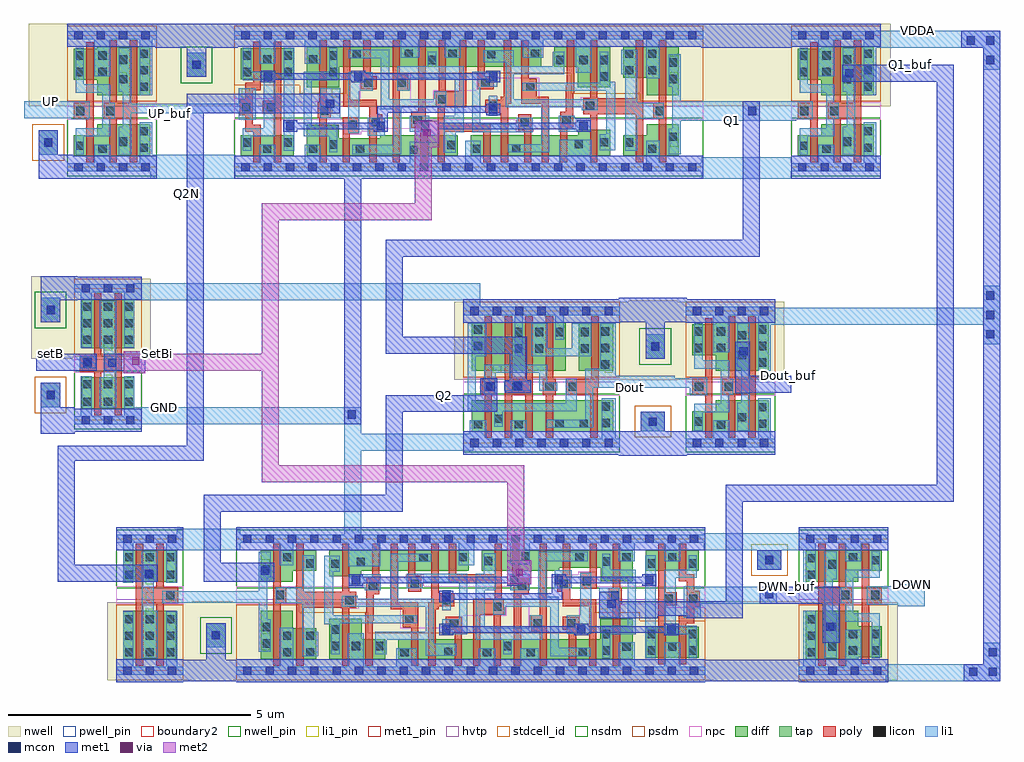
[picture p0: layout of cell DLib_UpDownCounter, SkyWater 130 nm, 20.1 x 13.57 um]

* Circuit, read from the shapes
.subckt DLib_UpDownCounter DOWN DWN_buf Dout Dout_buf GND Q1 Q1_buf Q2 Q2N SetBi UP UP_buf VDDA setB
XM1 GND UP n1 GND sky130_fd_pr__nfet_01v8 w=0.42 l=0.15
XM2 SetBi setB GND GND sky130_fd_pr__nfet_01v8 w=0.65 l=0.15 m=2
XM3 UP_buf n1 GND GND sky130_fd_pr__nfet_01v8 w=0.65 l=0.15 m=2
XM4 Q2N Q2 GND GND sky130_fd_pr__nfet_01v8 w=0.65 l=0.15 m=2
XM5 GND UP_buf n2 GND sky130_fd_pr__nfet_01v8 w=0.42 l=0.15
XM6 GND n3 Q2 GND sky130_fd_pr__nfet_01v8 w=0.65 l=0.15
XM7 n4 n2 GND GND sky130_fd_pr__nfet_01v8 w=0.42 l=0.15
XM8 n3 n5 GND GND sky130_fd_pr__nfet_01v8 w=0.42 l=0.15
XM9 n6 Q2N GND GND sky130_fd_pr__nfet_01v8 w=0.64 l=0.15
XM10 GND n5 n7 GND sky130_fd_pr__nfet_01v8 w=0.54 l=0.15
XM11 n8 n2 n6 GND sky130_fd_pr__nfet_01v8 w=0.36 l=0.15
XM12 n9 n4 n8 GND sky130_fd_pr__nfet_01v8 w=0.36 l=0.15
XM13 n10 SetBi GND GND sky130_fd_pr__nfet_01v8 w=0.42 l=0.15
XM14 n11 n7 n10 GND sky130_fd_pr__nfet_01v8 w=0.42 l=0.15
XM15 GND n12 n9 GND sky130_fd_pr__nfet_01v8 w=0.42 l=0.15
XM16 n5 n13 n11 GND sky130_fd_pr__nfet_01v8 w=0.42 l=0.15
XM17 n14 SetBi GND GND sky130_fd_pr__nfet_01v8 w=0.42 l=0.15
XM18 n15 n16 n5 GND sky130_fd_pr__nfet_01v8 w=0.42 l=0.15
XM19 n12 n8 n14 GND sky130_fd_pr__nfet_01v8 w=0.42 l=0.15
XM20 GND n17 n15 GND sky130_fd_pr__nfet_01v8 w=0.42 l=0.15
XM21 n18 n8 GND GND sky130_fd_pr__nfet_01v8 w=0.42 l=0.15
XM22 n19 Q2 GND GND sky130_fd_pr__nfet_01v8 w=0.65 l=0.15
XM23 n20 n17 n21 GND sky130_fd_pr__nfet_01v8 w=0.42 l=0.15
XM24 n22 n4 n18 GND sky130_fd_pr__nfet_01v8 w=0.42 l=0.15
XM25 GND Q1 n19 GND sky130_fd_pr__nfet_01v8 w=0.65 l=0.15
XM26 GND SetBi n20 GND sky130_fd_pr__nfet_01v8 w=0.42 l=0.15
XM27 n23 n2 n22 GND sky130_fd_pr__nfet_01v8 w=0.42 l=0.15
XM28 n24 Q1 GND GND sky130_fd_pr__nfet_01v8 w=0.65 l=0.15
XM29 n25 n21 GND GND sky130_fd_pr__nfet_01v8 w=0.42 l=0.15
XM30 n26 n27 n23 GND sky130_fd_pr__nfet_01v8 w=0.42 l=0.15
XM31 Dout Q2 n24 GND sky130_fd_pr__nfet_01v8 w=0.65 l=0.15
XM32 GND SetBi n26 GND sky130_fd_pr__nfet_01v8 w=0.42 l=0.15
XM33 n17 n16 n25 GND sky130_fd_pr__nfet_01v8 w=0.36 l=0.15
XM34 n28 n13 n17 GND sky130_fd_pr__nfet_01v8 w=0.36 l=0.15
XM35 n27 n22 GND GND sky130_fd_pr__nfet_01v8 w=0.54 l=0.15
XM36 GND n19 Dout GND sky130_fd_pr__nfet_01v8 w=0.65 l=0.15
XM37 GND Q1_buf n28 GND sky130_fd_pr__nfet_01v8 w=0.64 l=0.15
XM38 GND n22 n29 GND sky130_fd_pr__nfet_01v8 w=0.42 l=0.15
XM39 GND n13 n16 GND sky130_fd_pr__nfet_01v8 w=0.42 l=0.15
XM40 Q1 n29 GND GND sky130_fd_pr__nfet_01v8 w=0.65 l=0.15
XM41 n13 DWN_buf GND GND sky130_fd_pr__nfet_01v8 w=0.42 l=0.15
XM42 GND Dout n30 GND sky130_fd_pr__nfet_01v8 w=0.42 l=0.15
XM43 Dout_buf n30 GND GND sky130_fd_pr__nfet_01v8 w=0.65 l=0.15 m=2
XM44 GND Q1 n31 GND sky130_fd_pr__nfet_01v8 w=0.42 l=0.15
XM45 DWN_buf n32 GND GND sky130_fd_pr__nfet_01v8 w=0.65 l=0.15 m=2
XM46 Q1_buf n31 GND GND sky130_fd_pr__nfet_01v8 w=0.65 l=0.15 m=2
XM47 n32 DOWN GND GND sky130_fd_pr__nfet_01v8 w=0.42 l=0.15
XM48 VDDA UP n1 VDDA sky130_fd_pr__pfet_01v8_hvt w=0.64 l=0.15
XM49 SetBi setB VDDA VDDA sky130_fd_pr__pfet_01v8_hvt w=1 l=0.15 m=2
XM50 UP_buf n1 VDDA VDDA sky130_fd_pr__pfet_01v8_hvt w=1 l=0.15 m=2
XM51 Q2N Q2 VDDA VDDA sky130_fd_pr__pfet_01v8_hvt w=1 l=0.15 m=2
XM52 VDDA UP_buf n2 VDDA sky130_fd_pr__pfet_01v8_hvt w=0.64 l=0.15
XM53 VDDA n3 Q2 VDDA sky130_fd_pr__pfet_01v8_hvt w=1 l=0.15
XM54 n4 n2 VDDA VDDA sky130_fd_pr__pfet_01v8_hvt w=0.64 l=0.15
XM55 n3 n5 VDDA VDDA sky130_fd_pr__pfet_01v8_hvt w=0.64 l=0.15
XM56 n6 Q2N VDDA VDDA sky130_fd_pr__pfet_01v8_hvt w=0.84 l=0.15
XM57 VDDA n5 n7 VDDA sky130_fd_pr__pfet_01v8_hvt w=0.84 l=0.15
XM58 n8 n4 n6 VDDA sky130_fd_pr__pfet_01v8_hvt w=0.42 l=0.15
XM59 n33 n2 n8 VDDA sky130_fd_pr__pfet_01v8_hvt w=0.42 l=0.15
XM60 n5 SetBi VDDA VDDA sky130_fd_pr__pfet_01v8_hvt w=0.42 l=0.15
XM61 VDDA n12 n33 VDDA sky130_fd_pr__pfet_01v8_hvt w=0.42 l=0.15
XM62 n34 n7 VDDA VDDA sky130_fd_pr__pfet_01v8_hvt w=0.42 l=0.15
XM63 n12 SetBi VDDA VDDA sky130_fd_pr__pfet_01v8_hvt w=0.42 l=0.15
XM64 n5 n16 n34 VDDA sky130_fd_pr__pfet_01v8_hvt w=0.42 l=0.15
XM65 VDDA n8 n12 VDDA sky130_fd_pr__pfet_01v8_hvt w=0.42 l=0.15
XM66 n35 n13 n5 VDDA sky130_fd_pr__pfet_01v8_hvt w=0.42 l=0.15
XM67 n36 n8 VDDA VDDA sky130_fd_pr__pfet_01v8_hvt w=0.42 l=0.15
XM68 VDDA n17 n35 VDDA sky130_fd_pr__pfet_01v8_hvt w=0.42 l=0.15
XM69 n22 n2 n36 VDDA sky130_fd_pr__pfet_01v8_hvt w=0.42 l=0.15
XM70 n37 Q2 n19 VDDA sky130_fd_pr__pfet_01v8_hvt w=1 l=0.15
XM71 n21 n17 VDDA VDDA sky130_fd_pr__pfet_01v8_hvt w=0.42 l=0.15
XM72 n38 n4 n22 VDDA sky130_fd_pr__pfet_01v8_hvt w=0.42 l=0.15
XM73 VDDA Q1 n37 VDDA sky130_fd_pr__pfet_01v8_hvt w=1 l=0.15
XM74 VDDA SetBi n21 VDDA sky130_fd_pr__pfet_01v8_hvt w=0.42 l=0.15
XM75 VDDA n27 n38 VDDA sky130_fd_pr__pfet_01v8_hvt w=0.42 l=0.15
XM76 n39 Q1 VDDA VDDA sky130_fd_pr__pfet_01v8_hvt w=1 l=0.15
XM77 n40 n21 VDDA VDDA sky130_fd_pr__pfet_01v8_hvt w=0.42 l=0.15
XM78 VDDA Q2 n39 VDDA sky130_fd_pr__pfet_01v8_hvt w=1 l=0.15
XM79 VDDA SetBi n22 VDDA sky130_fd_pr__pfet_01v8_hvt w=0.42 l=0.15
XM80 n17 n13 n40 VDDA sky130_fd_pr__pfet_01v8_hvt w=0.42 l=0.15
XM81 n28 n16 n17 VDDA sky130_fd_pr__pfet_01v8_hvt w=0.42 l=0.15
XM82 n27 n22 VDDA VDDA sky130_fd_pr__pfet_01v8_hvt w=0.84 l=0.15
XM83 Dout n19 n39 VDDA sky130_fd_pr__pfet_01v8_hvt w=1 l=0.15
XM84 VDDA Q1_buf n28 VDDA sky130_fd_pr__pfet_01v8_hvt w=0.84 l=0.15
XM85 VDDA n22 n29 VDDA sky130_fd_pr__pfet_01v8_hvt w=0.64 l=0.15
XM86 VDDA n13 n16 VDDA sky130_fd_pr__pfet_01v8_hvt w=0.64 l=0.15
XM87 Q1 n29 VDDA VDDA sky130_fd_pr__pfet_01v8_hvt w=1 l=0.15
XM88 n13 DWN_buf VDDA VDDA sky130_fd_pr__pfet_01v8_hvt w=0.64 l=0.15
XM89 VDDA Dout n30 VDDA sky130_fd_pr__pfet_01v8_hvt w=0.64 l=0.15
XM90 Dout_buf n30 VDDA VDDA sky130_fd_pr__pfet_01v8_hvt w=1 l=0.15 m=2
XM91 VDDA Q1 n31 VDDA sky130_fd_pr__pfet_01v8_hvt w=0.64 l=0.15
XM92 DWN_buf n32 VDDA VDDA sky130_fd_pr__pfet_01v8_hvt w=1 l=0.15 m=2
XM93 Q1_buf n31 VDDA VDDA sky130_fd_pr__pfet_01v8_hvt w=1 l=0.15 m=2
XM94 n32 DOWN VDDA VDDA sky130_fd_pr__pfet_01v8_hvt w=0.64 l=0.15
.ends

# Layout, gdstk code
from math import pi, radians
import gdstk
lib = gdstk.Library(unit=1e-6, precision=1e-09)
def R(c, l, rs):  # rectangles x0, y0, x1, y1
    for r in rs: c.add(gdstk.rectangle(r[:2], r[2:], *l))
def A(c, l, x, y, w, h, nx, ny, dx, dy):  # array of equal rectangles
    R(c, l, [(x+i*dx, y+j*dy, x+i*dx+w, y+j*dy+h) for i in range(nx) for j in range(ny)])
def P(c, l, *ps):  # polygons
    for p in ps: c.add(gdstk.Polygon(p, *l))
nwell_pin = (64, 16)
nwell = (64, 20)
diff = (65, 20)
tap = (65, 44)
poly = (66, 20)
licon = (66, 44)
li1_pin = (67, 16)
li1 = (67, 20)
mcon = (67, 44)
met1_pin = (68, 16)
met1 = (68, 20)
via = (68, 44)
met2 = (69, 20)
hvtp = (78, 44)
stdcell_id = (81, 4)
nsdm = (93, 44)
psdm = (94, 20)
npc = (95, 20)
pwell_pin = (122, 16)
boundary2 = (236, 0)

sky130_fd_sc_hd__xor2_1 = lib.new_cell('sky130_fd_sc_hd__xor2_1')
R(sky130_fd_sc_hd__xor2_1, nwell_pin, [(0.145,2.635,0.315,2.805)])
R(sky130_fd_sc_hd__xor2_1, nwell, [(-0.19,1.305,3.41,2.91)])
R(sky130_fd_sc_hd__xor2_1, diff, [(0.175,0.235,3.085,0.885), (0.175,1.485,2.105,2.485), (2.375,1.485,3.085,2.485)])
P(sky130_fd_sc_hd__xor2_1, poly, [(0.645,1.325),(0.585,1.325),(0.585,2.615),(0.435,2.615),(0.435,1.325),(0.375,1.325),(0.375,0.995),(0.435,0.995),(0.435,0.105),(0.585,0.105),(0.585,0.995),(0.645,0.995)],
  [(1.425,2.615),(1.275,2.615),(1.275,1.325),(1.005,1.325),(1.005,2.615),(0.855,2.615),(0.855,0.105),(1.005,0.105),(1.005,0.995),(1.275,0.995),(1.275,0.105),(1.425,0.105)],
  [(1.905,1.325),(1.845,1.325),(1.845,2.615),(1.695,2.615),(1.695,1.325),(1.635,1.325),(1.635,0.995),(1.695,0.995),(1.695,0.105),(1.845,0.105),(1.845,0.995),(1.905,0.995)],
  [(2.765,1.16),(2.785,1.16),(2.785,2.615),(2.635,2.615),(2.635,1.325),(2.115,1.325),(2.115,0.995),(2.615,0.995),(2.615,0.105),(2.765,0.105)])
A(sky130_fd_sc_hd__xor2_1, licon, 2.835, 1.535, 0.17, 0.17, 1, 3, 0, 0.34)
A(sky130_fd_sc_hd__xor2_1, licon, 1.055, 2.205, 0.17, 0.17, 3, 1, 0.42, 0)
R(sky130_fd_sc_hd__xor2_1, licon, [(0.215,0.305,0.385,0.475), (1.055,0.305,1.225,0.475), (1.895,0.315,2.065,0.485), (2.395,0.315,2.565,0.485), (2.845,0.33,3.015,0.5), (0.635,0.415,0.805,0.585), (2.845,0.67,3.015,0.84), (0.425,1.075,0.595,1.245), (1.01,1.075,1.18,1.245), (1.685,1.075,1.855,1.245), (2.165,1.075,2.335,1.245), (1.055,1.865,1.225,2.035), (1.475,1.865,1.645,2.035), (2.415,1.865,2.585,2.035), (0.215,1.915,0.385,2.085), (2.415,2.205,2.585,2.375), (0.215,2.255,0.385,2.425)])
R(sky130_fd_sc_hd__xor2_1, li1_pin, [(1.065,1.105,1.235,1.275), (0.605,1.445,0.775,1.615), (2.905,1.445,3.075,1.615)])
R(sky130_fd_sc_hd__xor2_1, li1, [(0.84,1.075,1.39,1.275)])
P(sky130_fd_sc_hd__xor2_1, li1, [(1.935,1.245),(1.73,1.245),(1.73,1.615),(0.425,1.615),(0.425,0.995),(0.67,0.995),(0.67,1.445),(1.56,1.445),(1.56,1.075),(1.935,1.075)],
  [(2.335,1.325),(2.105,1.325),(2.105,0.825),(0.255,0.825),(0.255,1.785),(0.465,1.785),(0.465,2.465),(0.085,2.465),(0.085,0.655),(0.635,0.655),(0.635,0.335),(0.805,0.335),(0.805,0.655),(2.335,0.655)],
  [(2.635,2.465),(2.235,2.465),(2.235,1.955),(1.725,1.955),(1.725,2.465),(1.395,2.465),(1.395,1.785),(2.635,1.785)],
  [(3.135,2.465),(2.815,2.465),(2.815,1.535),(2.505,1.535),(2.505,0.485),(1.72,0.485),(1.72,0.315),(2.675,0.315),(2.675,1.365),(3.135,1.365)],
  [(3.22,2.805),(0,2.805),(0,2.635),(1.055,2.635),(1.055,1.785),(1.225,1.785),(1.225,2.635),(1.895,2.635),(1.895,2.125),(2.065,2.125),(2.065,2.635),(3.22,2.635)],
  [(3.22,0.085),(3.135,0.085),(3.135,0.92),(2.845,0.92),(2.845,0.085),(1.305,0.085),(1.305,0.475),(0.975,0.475),(0.975,0.085),(0.465,0.085),(0.465,0.475),(0.135,0.475),(0.135,0.085),(0,0.085),(0,-0.085),(3.22,-0.085)])
A(sky130_fd_sc_hd__xor2_1, mcon, 0.145, -0.085, 0.17, 0.17, 7, 2, 0.46, 2.72)
R(sky130_fd_sc_hd__xor2_1, met1_pin, [(0.145,-0.085,0.315,0.085), (0.145,2.635,0.315,2.805)])
R(sky130_fd_sc_hd__xor2_1, hvtp, [(0,1.25,3.22,2.72)])
R(sky130_fd_sc_hd__xor2_1, stdcell_id, [(0,0,3.22,2.72)])
R(sky130_fd_sc_hd__xor2_1, nsdm, [(0,-0.19,3.22,1.015)])
R(sky130_fd_sc_hd__xor2_1, psdm, [(0,1.355,3.22,2.91)])
R(sky130_fd_sc_hd__xor2_1, npc, [(0,0.975,3.22,1.345)])
R(sky130_fd_sc_hd__xor2_1, pwell_pin, [(0.145,-0.085,0.315,0.085)])
R(sky130_fd_sc_hd__xor2_1, boundary2, [(0,0,3.22,2.72)])
sky130_fd_sc_hd__xor2_1.add(gdstk.FlexPath([(0,0),(3.22,0)], 0.48, ends="flush", simple_path=True, layer=68, datatype=20))  # met1
sky130_fd_sc_hd__xor2_1.add(gdstk.FlexPath([(0,2.72),(3.22,2.72)], 0.48, ends="flush", simple_path=True, layer=68, datatype=20))  # met1
sky130_fd_sc_hd__xor2_1.add(gdstk.Label('B', (0.69,1.53), layer=67, texttype=5))
sky130_fd_sc_hd__xor2_1.add(gdstk.Label('X', (2.99,1.53), layer=67, texttype=5))
sky130_fd_sc_hd__xor2_1.add(gdstk.Label('A', (1.15,1.19), layer=67, texttype=5))
sky130_fd_sc_hd__xor2_1.add(gdstk.Label('VNB', (0.23,0), layer=64, texttype=59))
sky130_fd_sc_hd__xor2_1.add(gdstk.Label('VPB', (0.23,2.72), layer=64, texttype=5))
sky130_fd_sc_hd__xor2_1.add(gdstk.Label('VPWR', (0.23,2.72), layer=68, texttype=5))
sky130_fd_sc_hd__xor2_1.add(gdstk.Label('VGND', (0.23,0), layer=68, texttype=5))
sky130_fd_sc_hd__xor2_1.add(gdstk.Label('xor2_1', (0,0), layer=83, texttype=44))

sky130_fd_sc_hd__inv_2 = lib.new_cell('sky130_fd_sc_hd__inv_2')
R(sky130_fd_sc_hd__inv_2, nwell_pin, [(0.145,2.635,0.315,2.805)])
R(sky130_fd_sc_hd__inv_2, nwell, [(-0.19,1.305,1.57,2.91)])
R(sky130_fd_sc_hd__inv_2, diff, [(0.145,0.235,1.235,0.885), (0.145,1.485,1.235,2.485)])
P(sky130_fd_sc_hd__inv_2, poly, [(0.975,2.615),(0.825,2.615),(0.825,1.325),(0.555,1.325),(0.555,2.615),(0.405,2.615),(0.405,1.325),(0.105,1.325),(0.105,0.995),(0.405,0.995),(0.405,0.105),(0.555,0.105),(0.555,0.995),(0.825,0.995),(0.825,0.105),(0.975,0.105)])
A(sky130_fd_sc_hd__inv_2, licon, 0.185, 0.295, 0.17, 0.17, 3, 2, 0.42, 0.36)
A(sky130_fd_sc_hd__inv_2, licon, 0.185, 1.575, 0.17, 0.17, 3, 3, 0.42, 0.34)
R(sky130_fd_sc_hd__inv_2, licon, [(0.185,1.075,0.355,1.245)])
A(sky130_fd_sc_hd__inv_2, li1_pin, 0.605, 0.765, 0.17, 0.17, 1, 3, 0, 0.34)
R(sky130_fd_sc_hd__inv_2, li1_pin, [(0.145,1.105,0.315,1.275)])
R(sky130_fd_sc_hd__inv_2, li1, [(0.105,1.075,0.435,1.325)])
P(sky130_fd_sc_hd__inv_2, li1, [(1.38,2.805),(0,2.805),(0,2.635),(0.125,2.635),(0.125,1.495),(0.355,1.495),(0.355,2.635),(1.025,2.635),(1.025,1.495),(1.235,1.495),(1.235,2.635),(1.38,2.635)],
  [(0.855,2.465),(0.525,2.465),(0.525,1.485),(0.605,1.485),(0.605,0.885),(0.525,0.885),(0.525,0.255),(0.855,0.255)],
  [(1.38,0.085),(1.235,0.085),(1.235,0.905),(1.025,0.905),(1.025,0.085),(0.355,0.085),(0.355,0.905),(0.125,0.905),(0.125,0.085),(0,0.085),(0,-0.085),(1.38,-0.085)])
A(sky130_fd_sc_hd__inv_2, mcon, 0.145, -0.085, 0.17, 0.17, 3, 2, 0.46, 2.72)
R(sky130_fd_sc_hd__inv_2, met1_pin, [(0.145,-0.085,0.315,0.085), (0.145,2.635,0.315,2.805)])
R(sky130_fd_sc_hd__inv_2, hvtp, [(0,1.25,1.38,2.72)])
R(sky130_fd_sc_hd__inv_2, stdcell_id, [(0,0,1.38,2.72)])
R(sky130_fd_sc_hd__inv_2, nsdm, [(0,-0.19,1.38,1.015)])
R(sky130_fd_sc_hd__inv_2, psdm, [(0,1.355,1.38,2.91)])
R(sky130_fd_sc_hd__inv_2, npc, [(0,0.975,1.38,1.345)])
R(sky130_fd_sc_hd__inv_2, pwell_pin, [(0.145,-0.085,0.315,0.085)])
R(sky130_fd_sc_hd__inv_2, boundary2, [(0,0,1.38,2.72)])
sky130_fd_sc_hd__inv_2.add(gdstk.FlexPath([(0,2.72),(1.38,2.72)], 0.48, ends="flush", simple_path=True, layer=68, datatype=20))  # met1
sky130_fd_sc_hd__inv_2.add(gdstk.FlexPath([(0,0),(1.38,0)], 0.48, ends="flush", simple_path=True, layer=68, datatype=20))  # met1
sky130_fd_sc_hd__inv_2.add(gdstk.Label('A', (0.23,1.19), layer=67, texttype=5))
sky130_fd_sc_hd__inv_2.add(gdstk.Label('Y', (0.69,0.85), layer=67, texttype=5))
sky130_fd_sc_hd__inv_2.add(gdstk.Label('Y', (0.69,1.53), layer=67, texttype=5))
sky130_fd_sc_hd__inv_2.add(gdstk.Label('Y', (0.69,1.19), layer=67, texttype=5))
sky130_fd_sc_hd__inv_2.add(gdstk.Label('VPB', (0.23,2.72), layer=64, texttype=5))
sky130_fd_sc_hd__inv_2.add(gdstk.Label('VNB', (0.23,0), layer=64, texttype=59))
sky130_fd_sc_hd__inv_2.add(gdstk.Label('VPWR', (0.23,2.72), layer=68, texttype=5))
sky130_fd_sc_hd__inv_2.add(gdstk.Label('VGND', (0.23,0), layer=68, texttype=5))
sky130_fd_sc_hd__inv_2.add(gdstk.Label('inv_2', (0,0), layer=83, texttype=44))

sky130_fd_sc_hd__dfstp_1 = lib.new_cell('sky130_fd_sc_hd__dfstp_1')
R(sky130_fd_sc_hd__dfstp_1, nwell_pin, [(0.145,2.635,0.315,2.805), (0.145,2.635,0.315,2.805)])
R(sky130_fd_sc_hd__dfstp_1, nwell, [(-0.19,1.305,9.85,2.91)])
R(sky130_fd_sc_hd__dfstp_1, diff, [(0.135,0.235,1.225,0.655), (0.135,1.815,1.225,2.455)])
P(sky130_fd_sc_hd__dfstp_1, diff, [(4.6,0.655),(3.005,0.655),(3.005,0.595),(2.155,0.595),(2.155,0.875),(1.495,0.875),(1.495,0.235),(4.6,0.235)],
  [(9.155,0.885),(8.495,0.885),(8.495,0.655),(8.01,0.655),(8.01,0.235),(9.155,0.235)],
  [(9.155,2.485),(8.01,2.485),(8.01,1.845),(8.495,1.845),(8.495,1.485),(9.155,1.485)],
  [(6.32,2.485),(1.495,2.485),(1.495,1.645),(2.165,1.645),(2.165,2.065),(6.32,2.065)],
  [(7.74,2.485),(6.59,2.485),(6.59,2.065),(7.075,2.065),(7.075,1.645),(7.74,1.645)],
  [(7.74,0.775),(7.08,0.775),(7.08,0.655),(4.87,0.655),(4.87,0.235),(7.74,0.235)])
P(sky130_fd_sc_hd__dfstp_1, poly, [(0.545,0.88),(0.38,0.88),(0.38,1.59),(0.545,1.59),(0.545,2.585),(0.395,2.585),(0.395,1.74),(0.23,1.74),(0.23,1.4),(0.11,1.4),(0.11,1.07),(0.23,1.07),(0.23,0.73),(0.395,0.73),(0.395,0.105),(0.545,0.105)],
  [(0.965,2.585),(0.815,2.585),(0.815,1.37),(0.59,1.37),(0.59,1.1),(0.815,1.1),(0.815,0.105),(0.965,0.105)],
  [(1.99,1.335),(1.905,1.335),(1.905,2.615),(1.755,2.615),(1.755,1.335),(1.72,1.335),(1.72,1.005),(1.755,1.005),(1.755,0.105),(1.905,0.105),(1.905,1.005),(1.99,1.005)],
  [(2.57,1.035),(2.23,1.035),(2.23,0.105),(2.38,0.105),(2.38,0.705),(2.57,0.705)],
  [(2.93,1.875),(2.81,1.875),(2.81,2.615),(2.66,2.615),(2.66,1.875),(2.6,1.875),(2.6,1.605),(2.93,1.605)],
  [(3.05,1.095),(2.93,1.095),(2.93,1.395),(2.39,1.395),(2.39,2.615),(2.24,2.615),(2.24,1.245),(2.78,1.245),(2.78,0.105),(2.93,0.105),(2.93,0.765),(3.05,0.765)],
  [(3.58,1.905),(3.41,1.905),(3.41,2.615),(3.26,2.615),(3.26,0.105),(3.41,0.105),(3.41,1.575),(3.58,1.575)],
  [(3.98,0.965),(3.94,0.965),(3.94,2.615),(3.79,2.615),(3.79,1.145),(3.64,1.145),(3.64,0.815),(3.83,0.815),(3.83,0.105),(3.98,0.105)],
  [(5.28,0.915),(4.34,0.915),(4.34,1.235),(4.78,1.235),(4.78,2.615),(4.63,2.615),(4.63,1.565),(4.36,1.565),(4.36,2.615),(4.21,2.615),(4.21,1.565),(4.15,1.565),(4.15,1.235),(4.19,1.235),(4.19,0.105),(4.34,0.105),(4.34,0.735),(5.13,0.735),(5.13,0.105),(5.28,0.105)],
  [(5.34,1.875),(5.16,1.875),(5.16,2.615),(5.01,2.615),(5.01,1.605),(5.34,1.605)],
  [(5.7,2.615),(5.55,2.615),(5.55,1.455),(5.49,1.455),(5.49,1.395),(5.17,1.395),(5.17,1.125),(5.49,1.125),(5.49,0.105),(5.64,0.105),(5.64,1.305),(5.7,1.305)],
  [(6.12,1.095),(5.85,1.095),(5.85,0.765),(5.97,0.765),(5.97,0.105),(6.12,0.105)],
  [(6.48,1.455),(6.23,1.455),(6.23,1.825),(6.06,1.825),(6.06,2.615),(5.91,2.615),(5.91,1.305),(6.33,1.305),(6.33,0.105),(6.48,0.105)],
  [(7,2.615),(6.85,2.615),(6.85,1.685),(6.83,1.685),(6.83,1.145),(6.71,1.145),(6.71,0.105),(6.86,0.105),(6.86,0.815),(6.98,0.815),(6.98,1.535),(7,1.535)],
  [(8.42,2.615),(8.27,2.615),(8.27,1.425),(7.48,1.425),(7.48,2.615),(7.33,2.615),(7.33,1.425),(7.19,1.425),(7.19,1.095),(7.33,1.095),(7.33,0.105),(7.48,0.105),(7.48,1.095),(8.27,1.095),(8.27,0.105),(8.42,0.105)],
  [(8.9,1.325),(8.895,1.325),(8.895,2.615),(8.745,2.615),(8.745,1.325),(8.63,1.325),(8.63,0.995),(8.745,0.995),(8.745,0.105),(8.895,0.105),(8.895,0.995),(8.9,0.995)])
R(sky130_fd_sc_hd__dfstp_1, licon, [(3.61,0.275,3.78,0.445), (0.595,0.295,0.765,0.465), (1.535,0.295,1.705,0.465), (2.505,0.295,2.675,0.465), (4.91,0.295,5.08,0.465), (8.525,0.295,8.695,0.465), (5.72,0.305,5.89,0.475), (4.39,0.375,4.56,0.545), (1.955,0.385,2.125,0.555), (7.01,0.395,7.18,0.565), (0.175,0.425,0.345,0.595), (1.015,0.425,1.185,0.595), (8.05,0.425,8.22,0.595), (7.53,0.43,7.7,0.6), (8.945,0.545,9.115,0.715), (2.35,0.785,2.52,0.955), (2.83,0.845,3,1.015), (5.9,0.845,6.07,1.015), (3.69,0.895,3.86,1.065), (6.76,0.895,6.93,1.065), (8.68,1.075,8.85,1.245), (1.77,1.085,1.94,1.255), (0.16,1.15,0.33,1.32), (0.67,1.15,0.84,1.32), (5.25,1.175,5.42,1.345), (7.24,1.175,7.41,1.345), (4.2,1.315,4.37,1.485), (6.01,1.575,6.18,1.745), (2.68,1.655,2.85,1.825), (3.36,1.655,3.53,1.825), (5.09,1.655,5.26,1.825), (8.945,1.735,9.115,1.905), (7.53,1.785,7.7,1.955), (0.175,1.875,0.345,2.045), (1.015,1.875,1.185,2.045), (1.955,1.875,2.125,2.045), (8.05,1.915,8.22,2.085), (8.525,1.915,8.695,2.085), (8.945,2.075,9.115,2.245), (3.99,2.125,4.16,2.295), (6.63,2.125,6.8,2.295), (7.11,2.125,7.28,2.295), (7.53,2.125,7.7,2.295), (0.595,2.135,0.765,2.305), (1.535,2.135,1.705,2.305), (0.175,2.215,0.345,2.385), (1.015,2.215,1.185,2.385), (1.955,2.215,2.125,2.385), (5.21,2.245,5.38,2.415), (2.44,2.25,2.61,2.42), (3.51,2.255,3.68,2.425), (4.41,2.255,4.58,2.425), (6.11,2.255,6.28,2.425), (8.05,2.255,8.22,2.425), (8.525,2.255,8.695,2.425)])
R(sky130_fd_sc_hd__dfstp_1, li1_pin, [(0.145,-0.085,0.315,0.085), (8.97,0.425,9.14,0.595), (3.85,0.765,4.02,0.935), (0.15,1.105,0.32,1.275), (2.01,1.105,2.18,1.275), (0.15,1.445,0.32,1.615), (2.01,1.445,2.18,1.615), (8.97,1.785,9.14,1.955), (8.97,2.125,9.14,2.295), (0.145,2.635,0.315,2.805)])
R(sky130_fd_sc_hd__dfstp_1, li1, [(0,-0.085,9.66,0.085), (0.515,0.07,0.845,0.465), (1.455,0.07,1.785,0.465), (3.61,0.07,4.02,0.525), (4.76,0.07,5.08,0.545), (6.69,0.07,7.35,0.565), (8.48,0.07,8.765,0.545), (1.015,0.345,1.24,2.465), (2.75,0.645,3.1,1.015), (3.61,0.735,4.02,1.065), (0.09,0.975,0.44,1.625), (1.77,1.005,2.18,1.625), (5.24,1.065,5.42,1.475), (8.48,1.835,8.765,2.635), (7.03,1.945,7.36,2.635), (0.515,2.135,0.845,2.635), (1.455,2.135,1.785,2.635), (3.43,2.255,3.81,2.635), (4.33,2.255,4.66,2.635), (5.94,2.255,6.36,2.635), (0,2.635,9.66,2.805)])
P(sky130_fd_sc_hd__dfstp_1, li1, [(0.84,1.965),(0.345,1.965),(0.345,2.465),(0.175,2.465),(0.175,1.795),(0.61,1.795),(0.61,0.805),(0.175,0.805),(0.175,0.345),(0.345,0.345),(0.345,0.635),(0.84,0.635)],
  [(2.125,0.825),(1.6,0.825),(1.6,1.795),(2.125,1.795),(2.125,2.465),(1.955,2.465),(1.955,1.965),(1.43,1.965),(1.43,0.635),(1.955,0.635),(1.955,0.305),(2.125,0.305)],
  [(2.85,1.955),(2.35,1.955),(2.35,0.705),(2.57,0.705),(2.57,1.575),(2.85,1.575)],
  [(4.37,1.565),(4.12,1.565),(4.12,1.405),(3.19,1.405),(3.19,2.42),(2.36,2.42),(2.36,2.25),(3.02,2.25),(3.02,1.195),(3.27,1.195),(3.27,0.465),(2.425,0.465),(2.425,0.265),(3.44,0.265),(3.44,1.235),(4.37,1.235)],
  [(4.73,2.085),(4.16,2.085),(4.16,2.375),(3.99,2.375),(3.99,2.085),(3.36,2.085),(3.36,1.575),(3.61,1.575),(3.61,1.835),(4.54,1.835),(4.54,1.065),(4.31,1.065),(4.31,0.295),(4.56,0.295),(4.56,0.725),(4.73,0.725)],
  [(6.15,1.015),(5.82,1.015),(5.82,0.895),(5.07,0.895),(5.07,1.655),(5.42,1.655),(5.42,1.965),(4.9,1.965),(4.9,0.725),(6.15,0.725)],
  [(7.34,1.005),(7.01,1.005),(7.01,1.065),(6.68,1.065),(6.68,0.735),(7.34,0.735)],
  [(7.49,1.405),(5.76,1.405),(5.76,1.915),(6.8,1.915),(6.8,2.375),(6.56,2.375),(6.56,2.085),(5.76,2.085),(5.76,2.415),(5.13,2.415),(5.13,2.165),(5.59,2.165),(5.59,1.235),(6.32,1.235),(6.32,0.475),(5.64,0.475),(5.64,0.305),(6.49,0.305),(6.49,1.235),(7.16,1.235),(7.16,1.175),(7.49,1.175)],
  [(7.85,1.765),(7.7,1.765),(7.7,2.375),(7.53,2.375),(7.53,1.745),(5.93,1.745),(5.93,1.575),(7.66,1.575),(7.66,0.68),(7.53,0.68),(7.53,0.35),(7.85,0.35)],
  [(8.85,1.325),(8.3,1.325),(8.3,2.425),(7.97,2.425),(7.97,1.915),(8.05,1.915),(8.05,0.345),(8.3,0.345),(8.3,0.995),(8.85,0.995)],
  [(9.2,2.325),(8.945,2.325),(8.945,1.655),(9.02,1.655),(9.02,0.795),(8.945,0.795),(8.945,0.265),(9.2,0.265)])
A(sky130_fd_sc_hd__dfstp_1, mcon, 0.145, -0.085, 0.17, 0.17, 21, 2, 0.46, 2.72)
R(sky130_fd_sc_hd__dfstp_1, mcon, [(1.07,0.765,1.24,0.935), (2.93,0.765,3.1,0.935), (3.85,0.765,4.02,0.935), (7.11,0.765,7.28,0.935), (5.25,1.105,5.42,1.275), (0.61,1.785,0.78,1.955), (2.47,1.785,2.64,1.955), (5.25,1.785,5.42,1.955)])
R(sky130_fd_sc_hd__dfstp_1, met1_pin, [(0.145,-0.085,0.315,0.085), (0.145,2.635,0.315,2.805)])
R(sky130_fd_sc_hd__dfstp_1, met1, [(0,-0.24,9.66,0.24), (0,2.48,9.66,2.96)])
P(sky130_fd_sc_hd__dfstp_1, met1, [(5.48,1.985),(5.19,1.985),(5.19,1.94),(2.7,1.94),(2.7,1.985),(2.41,1.985),(2.41,1.94),(0.84,1.94),(0.84,1.985),(0.55,1.985),(0.55,1.755),(0.84,1.755),(0.84,1.8),(2.41,1.8),(2.41,1.755),(2.7,1.755),(2.7,1.8),(5.19,1.8),(5.19,1.755),(5.48,1.755)],
  [(5.48,1.305),(5.19,1.305),(5.19,1.26),(2.945,1.26),(2.945,0.965),(2.87,0.965),(2.87,0.92),(1.3,0.92),(1.3,0.965),(1.01,0.965),(1.01,0.735),(1.3,0.735),(1.3,0.78),(2.87,0.78),(2.87,0.735),(3.16,0.735),(3.16,1.12),(5.19,1.12),(5.19,1.075),(5.48,1.075)],
  [(7.34,0.965),(7.05,0.965),(7.05,0.92),(4.08,0.92),(4.08,0.965),(3.79,0.965),(3.79,0.735),(4.08,0.735),(4.08,0.78),(7.05,0.78),(7.05,0.735),(7.34,0.735)])
R(sky130_fd_sc_hd__dfstp_1, hvtp, [(0,1.25,9.66,2.72)])
R(sky130_fd_sc_hd__dfstp_1, stdcell_id, [(0,0,9.66,2.72)])
R(sky130_fd_sc_hd__dfstp_1, nsdm, [(0,-0.19,9.66,1.015)])
P(sky130_fd_sc_hd__dfstp_1, psdm, [(9.66,2.91),(0,2.91),(0,1.685),(1.345,1.685),(1.345,1.515),(2.295,1.515),(2.295,1.935),(6.945,1.935),(6.945,1.515),(8.365,1.515),(8.365,1.355),(9.66,1.355)])
P(sky130_fd_sc_hd__dfstp_1, npc, [(9.66,1.345),(7.51,1.345),(7.51,1.445),(7.14,1.445),(7.14,1.345),(6.28,1.345),(6.28,1.845),(5.36,1.845),(5.36,1.925),(4.99,1.925),(4.99,1.585),(4.1,1.585),(4.1,1.345),(3.63,1.345),(3.63,1.925),(2.58,1.925),(2.58,1.345),(2.04,1.345),(2.04,1.355),(1.67,1.355),(1.67,1.345),(0.94,1.345),(0.94,1.42),(0,1.42),(0,0.975),(2.25,0.975),(2.25,0.685),(2.62,0.685),(2.62,0.745),(3.1,0.745),(3.1,0.795),(3.96,0.795),(3.96,0.975),(5.8,0.975),(5.8,0.745),(6.17,0.745),(6.17,0.795),(7.03,0.795),(7.03,0.975),(9.66,0.975)])
R(sky130_fd_sc_hd__dfstp_1, pwell_pin, [(0.145,-0.085,0.315,0.085), (0.145,-0.085,0.315,0.085)])
R(sky130_fd_sc_hd__dfstp_1, boundary2, [(0,0,9.66,2.72)])
sky130_fd_sc_hd__dfstp_1.add(gdstk.Label('D', (2.095,1.53), layer=67, texttype=5))
sky130_fd_sc_hd__dfstp_1.add(gdstk.Label('D', (2.095,1.19), layer=67, texttype=5))
sky130_fd_sc_hd__dfstp_1.add(gdstk.Label('VPWR', (0.23,2.72), layer=67, texttype=5))
sky130_fd_sc_hd__dfstp_1.add(gdstk.Label('Q', (9.055,2.21), layer=67, texttype=5))
sky130_fd_sc_hd__dfstp_1.add(gdstk.Label('Q', (9.055,1.87), layer=67, texttype=5))
sky130_fd_sc_hd__dfstp_1.add(gdstk.Label('Q', (9.055,0.51), layer=67, texttype=5))
sky130_fd_sc_hd__dfstp_1.add(gdstk.Label('SET_B', (3.935,0.85), layer=67, texttype=5))
sky130_fd_sc_hd__dfstp_1.add(gdstk.Label('CLK', (0.23,1.53), layer=67, texttype=5))
sky130_fd_sc_hd__dfstp_1.add(gdstk.Label('CLK', (0.23,1.19), layer=67, texttype=5))
sky130_fd_sc_hd__dfstp_1.add(gdstk.Label('VGND', (0.23,0), layer=67, texttype=5))
sky130_fd_sc_hd__dfstp_1.add(gdstk.Label('VPB', (0.23,2.72), layer=64, texttype=5))
sky130_fd_sc_hd__dfstp_1.add(gdstk.Label('VPB', (0.23,2.72), layer=64, texttype=5))
sky130_fd_sc_hd__dfstp_1.add(gdstk.Label('VNB', (0.23,0), layer=64, texttype=59))
sky130_fd_sc_hd__dfstp_1.add(gdstk.Label('VNB', (0.23,0), layer=64, texttype=59))
sky130_fd_sc_hd__dfstp_1.add(gdstk.Label('VPWR', (0.23,2.72), layer=68, texttype=5))
sky130_fd_sc_hd__dfstp_1.add(gdstk.Label('VGND', (0.23,0), layer=68, texttype=5))
sky130_fd_sc_hd__dfstp_1.add(gdstk.Label('dfstp_1', (0,0), layer=83, texttype=44))

sky130_fd_sc_hd__buf_2 = lib.new_cell('sky130_fd_sc_hd__buf_2')
R(sky130_fd_sc_hd__buf_2, nwell_pin, [(0.145,2.635,0.315,2.805)])
R(sky130_fd_sc_hd__buf_2, nwell, [(-0.19,1.305,2.03,2.91)])
P(sky130_fd_sc_hd__buf_2, diff, [(1.705,2.485),(0.62,2.485),(0.62,2.445),(0.135,2.445),(0.135,1.805),(0.62,1.805),(0.62,1.485),(1.705,1.485)],
  [(1.705,0.885),(0.62,0.885),(0.62,0.655),(0.135,0.655),(0.135,0.235),(1.705,0.235)])
P(sky130_fd_sc_hd__buf_2, poly, [(1.44,2.615),(1.29,2.615),(1.29,1.325),(1.02,1.325),(1.02,2.615),(0.87,2.615),(0.87,1.325),(0.755,1.325),(0.755,0.995),(0.87,0.995),(0.87,0.105),(1.02,0.105),(1.02,0.995),(1.29,0.995),(1.29,0.105),(1.44,0.105)],
  [(0.545,2.575),(0.395,2.575),(0.395,1.325),(0.135,1.325),(0.135,0.995),(0.395,0.995),(0.395,0.105),(0.545,0.105)])
A(sky130_fd_sc_hd__buf_2, licon, 1.49, 1.575, 0.17, 0.17, 1, 3, 0, 0.34)
R(sky130_fd_sc_hd__buf_2, licon, [(0.64,0.295,0.81,0.465), (1.49,0.315,1.66,0.485), (0.175,0.36,0.345,0.53), (1.07,0.445,1.24,0.615), (1.49,0.655,1.66,0.825), (0.185,1.075,0.355,1.245), (0.805,1.075,0.975,1.245), (1.07,1.73,1.24,1.9), (0.175,1.875,0.345,2.045), (0.64,1.875,0.81,2.045), (1.07,2.135,1.24,2.305), (0.175,2.215,0.345,2.385), (0.64,2.215,0.81,2.385)])
R(sky130_fd_sc_hd__buf_2, li1_pin, [(0.145,-0.085,0.315,0.085), (1.06,0.425,1.23,0.595), (0.145,1.105,0.315,1.275), (1.06,1.785,1.23,1.955), (1.06,2.125,1.23,2.295), (0.145,2.635,0.315,2.805)])
R(sky130_fd_sc_hd__buf_2, li1, [(0.085,0.985,0.44,1.355)])
P(sky130_fd_sc_hd__buf_2, li1, [(0.975,1.325),(0.89,1.325),(0.89,1.705),(0.345,1.705),(0.345,2.465),(0.175,2.465),(0.175,1.535),(0.72,1.535),(0.72,0.805),(0.175,0.805),(0.175,0.255),(0.345,0.255),(0.345,0.635),(0.89,0.635),(0.89,0.995),(0.975,0.995)],
  [(1.315,2.465),(1.06,2.465),(1.06,1.56),(1.145,1.56),(1.145,0.83),(1.06,0.83),(1.06,0.255),(1.315,0.255)],
  [(1.84,2.805),(0,2.805),(0,2.635),(0.56,2.635),(0.56,1.875),(0.89,1.875),(0.89,2.635),(1.49,2.635),(1.49,1.485),(1.75,1.485),(1.75,2.635),(1.84,2.635)],
  [(1.84,0.085),(1.75,0.085),(1.75,0.925),(1.49,0.925),(1.49,0.085),(0.89,0.085),(0.89,0.465),(0.56,0.465),(0.56,0.085),(0,0.085),(0,-0.085),(1.84,-0.085)])
A(sky130_fd_sc_hd__buf_2, mcon, 0.145, -0.085, 0.17, 0.17, 4, 2, 0.46, 2.72)
R(sky130_fd_sc_hd__buf_2, met1_pin, [(0.145,-0.085,0.315,0.085), (0.145,2.635,0.315,2.805)])
R(sky130_fd_sc_hd__buf_2, hvtp, [(0,1.25,1.84,2.72)])
R(sky130_fd_sc_hd__buf_2, stdcell_id, [(0,0,1.84,2.72)])
R(sky130_fd_sc_hd__buf_2, nsdm, [(0,-0.19,1.84,1.015)])
R(sky130_fd_sc_hd__buf_2, psdm, [(0,1.355,1.84,2.91)])
R(sky130_fd_sc_hd__buf_2, npc, [(0,0.975,1.84,1.345)])
R(sky130_fd_sc_hd__buf_2, pwell_pin, [(0.145,-0.085,0.315,0.085)])
R(sky130_fd_sc_hd__buf_2, boundary2, [(0,0,1.84,2.72)])
sky130_fd_sc_hd__buf_2.add(gdstk.FlexPath([(0,0),(1.84,0)], 0.48, ends="flush", simple_path=True, layer=68, datatype=20))  # met1
sky130_fd_sc_hd__buf_2.add(gdstk.FlexPath([(0,2.72),(1.84,2.72)], 0.48, ends="flush", simple_path=True, layer=68, datatype=20))  # met1
sky130_fd_sc_hd__buf_2.add(gdstk.Label('VPWR', (0.23,2.72), layer=68, texttype=5))
sky130_fd_sc_hd__buf_2.add(gdstk.Label('VGND', (0.23,0), layer=68, texttype=5))
sky130_fd_sc_hd__buf_2.add(gdstk.Label('VPWR', (0.23,2.72), layer=67, texttype=5))
sky130_fd_sc_hd__buf_2.add(gdstk.Label('VGND', (0.23,0), layer=67, texttype=5))
sky130_fd_sc_hd__buf_2.add(gdstk.Label('X', (1.145,0.51), layer=67, texttype=5))
sky130_fd_sc_hd__buf_2.add(gdstk.Label('X', (1.145,1.87), layer=67, texttype=5))
sky130_fd_sc_hd__buf_2.add(gdstk.Label('X', (1.145,2.21), layer=67, texttype=5))
sky130_fd_sc_hd__buf_2.add(gdstk.Label('A', (0.23,1.19), layer=67, texttype=5))
sky130_fd_sc_hd__buf_2.add(gdstk.Label('VPB', (0.23,2.72), layer=64, texttype=5))
sky130_fd_sc_hd__buf_2.add(gdstk.Label('VNB', (0.23,0), layer=64, texttype=59))
sky130_fd_sc_hd__buf_2.add(gdstk.Label('buf_2', (0,0), layer=83, texttype=44))

dlib_updowncounter = lib.new_cell('DLib_UpDownCounter')
R(dlib_updowncounter, nwell, [(-0.95,-15.75,-0.1,-15.7), (9.8,-15.75,11.75,-15.7), (-0.95,-15.7,-0.2,-14.2), (9.8,-15.7,11.4,-14.15), (-0.95,-14.2,-0.1,-14.1), (9.8,-14.15,11.6,-14.1), (8.05,-9.55,9.05,-7.9), (-4.25,-9.1,-3.4,-9.05), (-4.25,-9.05,-3.45,-7.5), (-4.25,-7.5,-3.35,-7.4), (-4.3,-3.9,13.45,-2.2)])
R(dlib_updowncounter, tap, [(-0.65,-15.05,-0.25,-14.55), (10.7,-13.45,11.2,-13.05), (8.3,-10.6,8.8,-10.2), (-4.05,-10.1,-3.65,-9.6), (8.4,-9.1,8.8,-8.6), (-4.05,-8.35,-3.65,-7.85), (-4.1,-4.9,-3.7,-4.4), (-1.05,-3.3,-0.65,-2.8)])
R(dlib_updowncounter, licon, [(-0.535,-14.885,-0.365,-14.715), (10.865,-13.335,11.035,-13.165), (8.465,-10.485,8.635,-10.315), (-3.935,-9.935,-3.765,-9.765), (8.515,-8.935,8.685,-8.765), (-3.935,-8.185,-3.765,-8.015), (-3.985,-4.735,-3.815,-4.565), (-0.935,-3.135,-0.765,-2.965)])
R(dlib_updowncounter, li1, [(13.35,-15.75,15.7,-15.4), (15.35,-15.4,15.7,-14.95), (-0.65,-15.05,-0.25,-14.55), (12.12,-14.71,12.29,-14.54), (7.6,-14.25,7.8,-14.05), (13.6,-14.2,14.15,-14.17), (12.96,-14.17,14.15,-13.79), (9.4,-14.15,11.1,-14.05), (-1.24,-14.13,0.53,-13.89), (9.35,-14.05,11.1,-13.8), (13.6,-13.79,14.15,-13.75), (-1.93,-13.63,-1.73,-13.43), (0.46,-13.57,0.66,-13.37), (10.7,-13.45,11.2,-13.05), (-1.25,-13.05,0.05,-12.6), (9.6,-13.05,11.75,-12.7), (2.2,-12.825,2.55,-11), (2.2,-11,4.85,-10.65), (2.2,-10.65,2.55,-10.45), (8.3,-10.6,8.8,-10.2), (-2.15,-10.45,2.55,-10.1), (-4.05,-10.1,-3.65,-9.6), (5.12,-9.76,5.29,-9.59), (5.69,-9.75,5.86,-9.58), (10.45,-9.75,10.5,-9.7), (7.3,-9.7,9.35,-9.5), (7.3,-9.5,9,-9.45), (-3.19,-9.27,-2.99,-9.07), (-2.67,-9.27,-2.5,-9.1), (8.4,-9.1,8.8,-8.6), (10.32,-9.05,10.52,-8.85), (15.35,-8.8,15.7,-8.4), (10.95,-8.4,15.7,-8.05), (-4.05,-8.35,-3.65,-7.85), (4.65,-8.1,5,-7.9), (15.35,-8.05,15.7,-7.6), (-2.15,-7.9,5,-7.55), (-1.8,-5.4,-0.05,-4.9), (9.55,-5.4,11.4,-4.95), (-4.1,-4.9,-3.7,-4.4), (9.1,-4.2,11.5,-3.8), (-4.4,-4.15,-3.05,-3.8), (-2.2,-4.05,0.1,-3.85), (1.8,-3.95,2,-3.75), (12.51,-3.31,12.68,-3.14), (-1.05,-3.3,-0.65,-2.8), (15.35,-3.15,15.7,-2.7), (13.15,-2.7,15.7,-2.35)])
A(dlib_updowncounter, mcon, 15.415, -8.685, 0.17, 0.17, 1, 3, 0, 0.4)
R(dlib_updowncounter, mcon, [(15.065,-15.635,15.235,-15.465), (15.465,-15.635,15.635,-15.465), (15.465,-15.235,15.635,-15.065), (-0.535,-14.885,-0.365,-14.715), (12.12,-14.71,12.29,-14.54), (7.615,-14.235,7.785,-14.065), (10.865,-14.035,11.035,-13.865), (-1.915,-13.615,-1.745,-13.445), (0.475,-13.555,0.645,-13.385), (10.865,-13.335,11.035,-13.165), (8.465,-10.485,8.635,-10.315), (2.265,-10.335,2.435,-10.165), (-3.935,-9.935,-3.765,-9.765), (5.12,-9.76,5.29,-9.59), (5.69,-9.75,5.86,-9.58), (-2.67,-9.27,-2.5,-9.1), (-3.175,-9.255,-3.005,-9.085), (10.335,-9.035,10.505,-8.865), (8.515,-8.935,8.685,-8.765), (-3.935,-8.185,-3.765,-8.015), (-3.985,-4.735,-3.815,-4.565), (10.515,-4.085,10.685,-3.915), (1.815,-3.935,1.985,-3.765), (12.51,-3.31,12.68,-3.14), (-0.935,-3.135,-0.765,-2.965), (15.415,-3.035,15.585,-2.865), (15.015,-2.635,15.185,-2.465), (15.415,-2.635,15.585,-2.465)])
R(dlib_updowncounter, met1, [(-1.15,-15.75,0.05,-15.3), (9.6,-15.75,11.6,-15.3), (14.95,-15.75,15.7,-15.4), (15.35,-15.4,15.7,-2.7), (-0.65,-15.3,-0.25,-14.55), (12.05,-14.95,12.4,-14.15), (7.45,-14.45,8.65,-14.4), (9.25,-14.45,10.4,-14.4), (7.45,-14.4,10.4,-14.1), (10.75,-14.15,12.4,-13.8), (7.45,-14.1,7.85,-13.9), (10.05,-14.1,10.4,-12.05), (5.55,-13.75,6.05,-13.25), (-3.7,-13.7,-1.65,-13.35), (-0.7,-13.7,0.75,-13.3), (10.7,-13.45,11.2,-13.05), (-3.7,-13.35,-3.35,-11.2), (-0.7,-13.3,-0.35,-12.25), (-0.7,-12.25,3.4,-11.9), (10.05,-12.05,14.75,-11.7), (3.05,-11.9,3.4,-10.2), (14.4,-11.7,14.75,-3.4), (-3.7,-11.2,-0.7,-10.9), (7.85,-11.1,9.25,-10.6), (-1.05,-10.9,-0.7,-4.05), (-4.05,-10.65,-3.35,-10.1), (8.3,-10.6,8.8,-10.2), (2.2,-10.45,2.55,-5.35), (3.05,-10.2,5.35,-9.85), (-4.05,-10.1,-3.65,-9.6), (5,-9.85,5.35,-9.5), (10.25,-9.81,10.55,-9.8), (5.5,-9.8,6.05,-9.55), (10.25,-9.8,11.4,-9.45), (5.6,-9.55,5.95,-9), (10.25,-9.45,10.55,-8.75), (-2.35,-9.4,-1.9,-9.35), (-4.15,-9.35,-2.9,-9), (-2.75,-9.35,-1.9,-9), (8.4,-9.1,8.8,-8.35), (-2.35,-9,-1.9,-8.95), (3.05,-9,5.95,-8.65), (3.05,-8.65,3.4,-7), (-4.05,-8.35,-3.65,-7.9), (7.85,-8.35,9.25,-7.85), (-4.05,-7.9,-3.3,-7.4), (3.05,-7,10.75,-6.65), (10.4,-6.65,10.75,-3.8), (-4.1,-5.4,-3.4,-4.9), (-4.1,-4.9,-3.7,-4.4), (3.65,-4.65,4.15,-4.2), (-1.05,-4.05,2.1,-3.65), (12.45,-3.4,14.75,-3.05), (-1.05,-3.3,-0.65,-2.7), (-1.7,-2.7,0,-2.2), (9.55,-2.7,11.4,-2.2), (14.9,-2.7,15.7,-2.35), (-3.45,-2.65,-3.4,-2.2)])
R(dlib_updowncounter, via, [(5.725,-13.575,5.875,-13.425), (-2.175,-9.225,-2.025,-9.075), (3.825,-4.525,3.975,-4.375)])
R(dlib_updowncounter, met2, [(5.55,-13.75,6.05,-13.25), (5.55,-13.25,5.9,-11.65), (0.5,-11.65,5.9,-11.3), (0.5,-11.3,0.85,-9.35), (-2.35,-9.4,-1.9,-9.35), (-2.35,-9.35,0.85,-9), (-2.35,-9,-1.9,-8.95), (0.5,-9,0.85,-6.25), (0.5,-6.25,4,-5.9), (3.65,-5.9,4,-4.75), (3.65,-4.75,4.15,-4.2)])
R(dlib_updowncounter, nsdm, [(-0.775,-15.175,-0.125,-14.425), (8.275,-9.225,8.925,-8.475), (-4.175,-8.475,-3.525,-7.725), (-1.175,-3.425,-0.525,-2.675)])
R(dlib_updowncounter, psdm, [(10.575,-13.575,11.325,-12.925), (8.175,-10.725,8.925,-10.075), (-4.175,-10.225,-3.525,-9.475), (-4.225,-5.025,-3.575,-4.275)])
dlib_updowncounter.add(gdstk.Reference(sky130_fd_sc_hd__xor2_1, (4.65,-10.84)))
dlib_updowncounter.add(gdstk.Reference(sky130_fd_sc_hd__inv_2, (-1.12,-12.81), rotation=pi))
dlib_updowncounter.add(gdstk.Reference(sky130_fd_sc_hd__inv_2, (-3.36,-10.37)))
dlib_updowncounter.add(gdstk.Reference(sky130_fd_sc_hd__dfstp_1, (9.63,-12.81), rotation=pi))
dlib_updowncounter.add(gdstk.Reference(sky130_fd_sc_hd__dfstp_1, (-0.07,-5.16)))
dlib_updowncounter.add(gdstk.Reference(sky130_fd_sc_hd__buf_2, (-3.51,-5.16)))
dlib_updowncounter.add(gdstk.Reference(sky130_fd_sc_hd__buf_2, (11.4,-5.16)))
dlib_updowncounter.add(gdstk.Reference(sky130_fd_sc_hd__buf_2, (9.23,-10.84)))
dlib_updowncounter.add(gdstk.Reference(sky130_fd_sc_hd__buf_2, (13.4,-12.81), rotation=pi))
dlib_updowncounter.add(gdstk.Label('Q1_buf', (13.85,-3.05), layer=68, texttype=5))
dlib_updowncounter.add(gdstk.Label('Q1', (10.2,-4.2), layer=67, texttype=5))
dlib_updowncounter.add(gdstk.Label('Dout', (8.1,-9.7), layer=67, texttype=5))
dlib_updowncounter.add(gdstk.Label('Q2', (4.25,-9.85), layer=68, texttype=5))
dlib_updowncounter.add(gdstk.Label('Q2N', (-1.05,-5.7), layer=68, texttype=5))
dlib_updowncounter.add(gdstk.Label('SetBi', (-1.65,-9), layer=69, texttype=5))
dlib_updowncounter.add(gdstk.Label('UP_buf', (-1.4,-4.05), layer=67, texttype=5))
dlib_updowncounter.add(gdstk.Label('DWN_buf', (11.3,-13.8), layer=68, texttype=5))
dlib_updowncounter.add(gdstk.Label('UP', (-3.85,-3.8), layer=67, texttype=5))
dlib_updowncounter.add(gdstk.Label('DOWN', (13.9,-13.75), layer=67, texttype=5))
dlib_updowncounter.add(gdstk.Label('setB', (-3.85,-9), layer=68, texttype=5))
dlib_updowncounter.add(gdstk.Label('Dout_buf', (11.35,-9.45), layer=68, texttype=5))
dlib_updowncounter.add(gdstk.Label('VDDA', (14,-2.35), layer=67, texttype=5))
dlib_updowncounter.add(gdstk.Label('GND', (-1.5,-10.1), layer=67, texttype=5))

lib.write_gds('DLib_UpDownCounter.gds')
